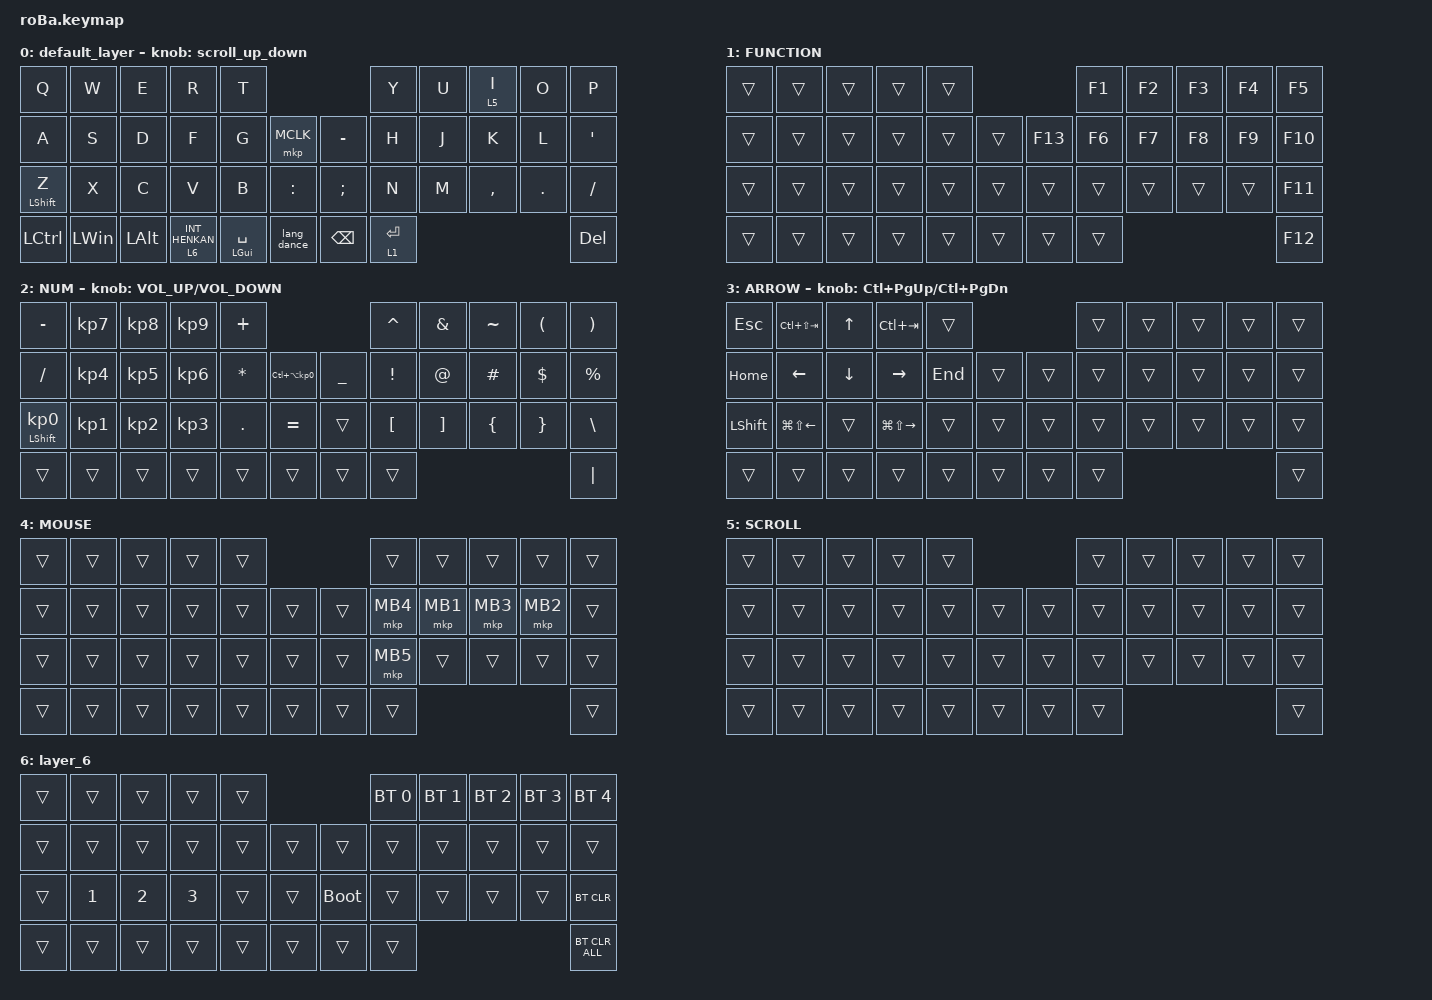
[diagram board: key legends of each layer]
#include <behaviors.dtsi>
#include <dt-bindings/zmk/bt.h>
#include <dt-bindings/zmk/keys.h>
#include <dt-bindings/zmk/pointing.h>

#define MOUSE 4
#define SCROLL 5
#define NUM 6
#define ZMK_MOUSE_DEFAULT_SCRL_VAL 100

&mt {
    flavor = "balanced";
    quick-tap-ms = <0>;
};

/ {
    combos {
        compatible = "zmk,combos";

        tab {
            bindings = <&kp TAB>;
            key-positions = <11 10>;
        };

        shift_tab {
            bindings = <&kp LS(TAB)>;
            key-positions = <12 11>;
        };

        double_quotation {
            bindings = <&kp DOUBLE_QUOTES>;
            key-positions = <20 21>;
        };

        eq {
            bindings = <&kp EQUAL>;
            key-positions = <24 25>;
        };

        BLE {
            bindings = <&none>;
            key-positions = <42 34>;
        };

        esc {
            bindings = <&kp ESC>;
            key-positions = <0 1>;
        };
    };

    macros {
        to_layer_0: to_layer_0 {
            compatible = "zmk,behavior-macro-one-param";
            #binding-cells = <1>;
            bindings = <&to 0 &macro_param_1to1 &kp MACRO_PLACEHOLDER>;
            label = "TO_LAYER_0";
        };
    };

    behaviors {
        lt_to_layer_0: lt_to_layer_0 {
            compatible = "zmk,behavior-hold-tap";
            label = "LAYER_TAP_TO_0";
            bindings = <&mo>, <&to_layer_0>;

            #binding-cells = <2>;
            tapping-term-ms = <200>;
        };

        scroll_up_down: behavior_sensor_rotate_mouse_wheel_up_down {
            compatible = "zmk,behavior-sensor-rotate";
            #sensor-binding-cells = <0>;
            bindings = <&msc SCRL_UP>, <&msc SCRL_DOWN>;

            tap-ms = <20>;
        };

        tog_on: toggle_layer_on_only {
            compatible = "zmk,behavior-toggle-layer";
            #binding-cells = <1>;
            display-name = "Toggle Layer On";
            toggle-mode = "on";
        };

        tog_off: toggle_layer_off_only {
            compatible = "zmk,behavior-toggle-layer";
            #binding-cells = <1>;
            display-name = "Toggle Layer Off";
            toggle-mode = "off";
        };

        lang_dance: tap_dance_0 {
            compatible = "zmk,behavior-tap-dance";
            #binding-cells = <0>;
            tapping-term-ms = <200>;
            bindings = <&mo 2>, <&kp LANG1>, <&kp LANG2>;
        };
    };

    keymap {
        compatible = "zmk,keymap";

        default_layer {
            bindings = <
&kp Q             &kp W         &kp E         &kp R                        &kp T                                           &kp Y        &kp U  &lt 5 I    &kp O    &kp P
&kp A             &kp S         &kp D         &kp F                        &kp G           &mkp MCLK        &kp MINUS      &kp H        &kp J  &kp K      &kp L    &kp SQT
&mt LEFT_SHIFT Z  &kp X         &kp C         &kp V                        &kp B           &kp COLON        &kp SEMICOLON  &kp N        &kp M  &kp COMMA  &kp DOT  &kp SLASH
&kp LCTRL         &kp LEFT_WIN  &kp LEFT_ALT  &lt_to_layer_0 6 INT_HENKAN  &mt LGUI SPACE  &lang_dance      &kp BACKSPACE  &lt 1 ENTER                             &kp DEL
            >;

            sensor-bindings = <&scroll_up_down>;
        };

        FUNCTION {
            bindings = <
&trans  &trans  &trans  &trans  &trans                       &kp F1  &kp F2  &kp F3  &kp F4  &kp F5
&trans  &trans  &trans  &trans  &trans  &trans      &kp F13  &kp F6  &kp F7  &kp F8  &kp F9  &kp F10
&trans  &trans  &trans  &trans  &trans  &trans      &trans   &trans  &trans  &trans  &trans  &kp F11
&trans  &trans  &trans  &trans  &trans  &trans      &trans   &trans                          &kp F12
            >;
        };

        NUM {
            bindings = <
&kp MINUS                   &kp KP_NUMBER_7  &kp KP_NUMBER_8  &kp KP_NUMBER_9  &kp PLUS                                                   &kp CARET         &kp AMPERSAND      &kp TILDE       &kp LEFT_PARENTHESIS  &kp RIGHT_PARENTHESIS
&kp SLASH                   &kp KP_NUMBER_4  &kp KP_NUMBER_5  &kp KP_NUMBER_6  &kp ASTERISK  &kp LC(LA(KP_NUMBER_0))      &kp UNDERSCORE  &kp EXCLAMATION   &kp AT_SIGN        &kp HASH        &kp DOLLAR            &kp PERCENT
&mt LEFT_SHIFT KP_NUMBER_0  &kp KP_NUMBER_1  &kp KP_NUMBER_2  &kp KP_NUMBER_3  &kp PERIOD    &kp EQUAL                    &trans          &kp LEFT_BRACKET  &kp RIGHT_BRACKET  &kp LEFT_BRACE  &kp RIGHT_BRACE       &kp BACKSLASH
&trans                      &trans           &trans           &trans           &trans        &trans                       &trans          &trans                                                                     &kp PIPE
            >;

            sensor-bindings = <&inc_dec_kp K_VOLUME_UP K_VOLUME_DOWN>;
        };

        ARROW {
            bindings = <
&kp ESCAPE      &kp LC(LS(TAB))         &kp UP_ARROW    &kp LC(TAB)              &trans                       &trans  &trans  &trans  &trans  &trans
&kp HOME        &kp LEFT_ARROW          &kp DOWN_ARROW  &kp RIGHT_ARROW          &kp END  &trans      &trans  &trans  &trans  &trans  &trans  &trans
&kp LEFT_SHIFT  &kp LG(LS(LEFT_ARROW))  &trans          &kp LG(LS(RIGHT_ARROW))  &trans   &trans      &trans  &trans  &trans  &trans  &trans  &trans
&trans          &trans                  &trans          &trans                   &trans   &trans      &trans  &trans                          &trans
            >;

            sensor-bindings = <&inc_dec_kp LC(PAGE_UP) LC(PAGE_DOWN)>;
        };

        MOUSE {
            bindings = <
&trans  &trans  &trans  &trans  &trans                      &trans    &trans    &trans    &trans    &trans
&trans  &trans  &trans  &trans  &trans  &trans      &trans  &mkp MB4  &mkp MB1  &mkp MB3  &mkp MB2  &trans
&trans  &trans  &trans  &trans  &trans  &trans      &trans  &mkp MB5  &trans    &trans    &trans    &trans
&trans  &trans  &trans  &trans  &trans  &trans      &trans  &trans                                  &trans
            >;
        };

        SCROLL {
            bindings = <
&trans  &trans  &trans  &trans  &trans                      &trans  &trans  &trans  &trans  &trans
&trans  &trans  &trans  &trans  &trans  &trans      &trans  &trans  &trans  &trans  &trans  &trans
&trans  &trans  &trans  &trans  &trans  &trans      &trans  &trans  &trans  &trans  &trans  &trans
&trans  &trans  &trans  &trans  &trans  &trans      &trans  &trans                          &trans
            >;
        };

        layer_6 {
            bindings = <
&trans  &trans        &trans        &trans        &trans                           &bt BT_SEL 0  &bt BT_SEL 1  &bt BT_SEL 2  &bt BT_SEL 3  &bt BT_SEL 4
&trans  &trans        &trans        &trans        &trans  &trans      &trans       &trans        &trans        &trans        &trans        &trans
&trans  &kp NUMBER_1  &kp NUMBER_2  &kp NUMBER_3  &trans  &trans      &bootloader  &trans        &trans        &trans        &trans        &bt BT_CLR
&trans  &trans        &trans        &trans        &trans  &trans      &trans       &trans                                                  &bt BT_CLR_ALL
            >;
        };
    };
};
